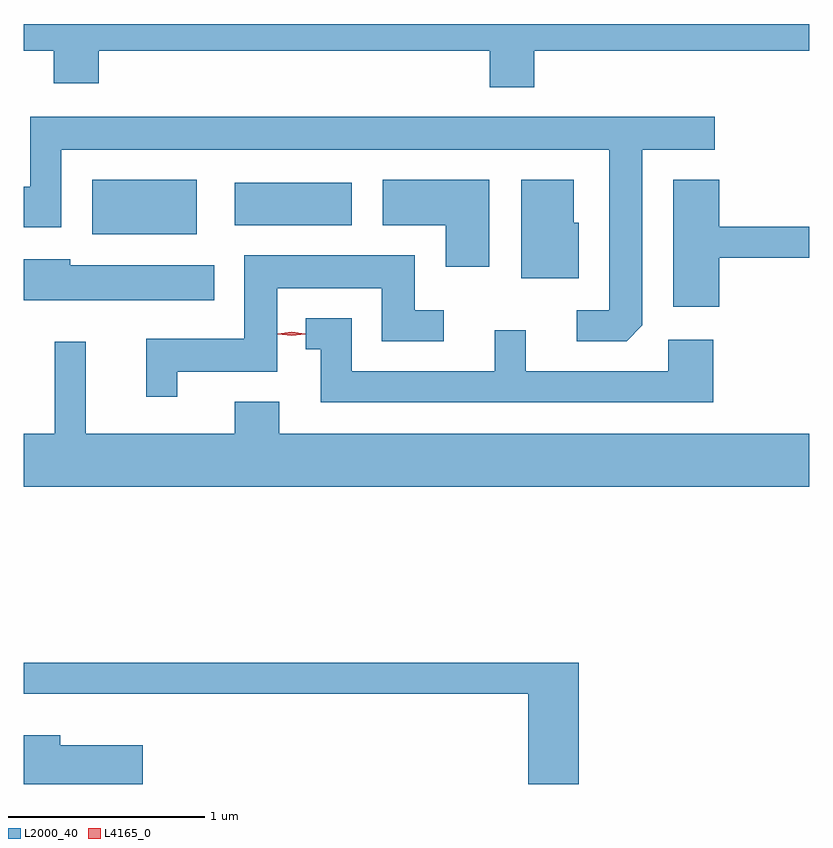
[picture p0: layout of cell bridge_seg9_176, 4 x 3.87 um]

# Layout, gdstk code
import gdstk
lib = gdstk.Library(unit=1e-6, precision=1e-09)
def R(c, l, rs):  # rectangles x0, y0, x1, y1
    for r in rs: c.add(gdstk.rectangle(r[:2], r[2:], *l))
def P(c, l, *ps):  # polygons
    for p in ps: c.add(gdstk.Polygon(p, *l))
L2000_40 = (2000, 40)
L4165_0 = (4165, 0)

bridge_seg9_176 = lib.new_cell('bridge_seg9_176')
R(bridge_seg9_176, L2000_40, [(1110.296,2075.241,1110.829,2075.519), (1111.021,2075.286,1111.619,2075.504)])
P(bridge_seg9_176, L2000_40, [(1112.549,2076.176),(1113.948,2076.176),(1113.948,2076.312),(1109.948,2076.312),(1109.948,2076.176),(1110.101,2076.176),(1110.101,2076.011),(1110.329,2076.011),(1110.329,2076.176),(1112.321,2076.176),(1112.321,2075.991),(1112.549,2075.991)],
  [(1113.099,2074.777),(1113.099,2075.671),(1113.468,2075.671),(1113.468,2075.839),(1109.981,2075.839),(1109.981,2075.484),(1109.948,2075.484),(1109.948,2075.276),(1110.139,2075.276),(1110.139,2075.671),(1112.931,2075.671),(1112.931,2074.854),(1112.763,2074.854),(1112.763,2074.696),(1113.019,2074.696)],
  [(1112.319,2075.519),(1111.776,2075.519),(1111.776,2075.286),(1112.096,2075.286),(1112.096,2075.076),(1112.319,2075.076)],
  [(1113.489,2075.121),(1113.948,2075.121),(1113.948,2075.279),(1113.489,2075.279),(1113.489,2075.519),(1113.256,2075.519),(1113.256,2074.871),(1113.489,2074.871)],
  [(1112.774,2075.299),(1112.749,2075.299),(1112.749,2075.519),(1112.481,2075.519),(1112.481,2075.016),(1112.774,2075.016)],
  [(1110.729,2074.541),(1111.239,2074.541),(1111.239,2074.966),(1111.771,2074.966),(1111.771,2074.696),(1112.088,2074.696),(1112.088,2074.854),(1111.939,2074.854),(1111.939,2075.134),(1111.071,2075.134),(1111.071,2074.709),(1110.571,2074.709),(1110.571,2074.413),(1110.729,2074.413)],
  [(1110.919,2075.084),(1110.184,2075.084),(1110.184,2075.114),(1109.948,2075.114),(1109.948,2074.906),(1110.919,2074.906)],
  [(1113.459,2074.704),(1113.231,2074.704),(1113.231,2074.544),(1112.504,2074.544),(1112.504,2074.753),(1112.346,2074.753),(1112.346,2074.544),(1111.619,2074.544),(1111.619,2074.814),(1111.383,2074.814),(1111.383,2074.656),(1111.461,2074.656),(1111.461,2074.386),(1113.459,2074.386)],
  [(1113.948,2074.224),(1111.249,2074.224),(1111.249,2074.389),(1111.021,2074.389),(1111.021,2074.224),(1110.264,2074.224),(1110.264,2074.693),(1110.106,2074.693),(1110.106,2074.224),(1109.948,2074.224),(1109.948,2073.956),(1113.948,2073.956)],
  [(1112.774,2073.059),(1109.948,2073.059),(1109.948,2072.901),(1112.516,2072.901),(1112.516,2072.441),(1112.774,2072.441)],
  [(1110.554,2072.639),(1110.134,2072.639),(1110.134,2072.689),(1109.948,2072.689),(1109.948,2072.441),(1110.554,2072.441)])
P(bridge_seg9_176, L4165_0, [(1111.312,2074.724),(1111.242,2074.733),(1111.242,2074.734),(1111.242,2074.734),(1111.312,2074.744),(1111.381,2074.734),(1111.381,2074.734),(1111.381,2074.733)])

lib.write_gds('bridge_seg9_176.gds')
